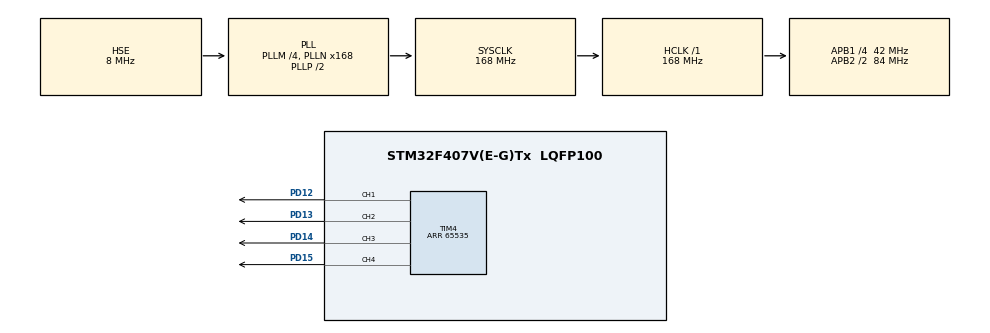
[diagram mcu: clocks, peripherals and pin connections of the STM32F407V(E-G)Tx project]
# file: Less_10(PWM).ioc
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Mcu.Family=STM32F4
Mcu.Name=STM32F407V(E-G)Tx
Mcu.Package=LQFP100
NVIC.PriorityGroup=NVIC_PRIORITYGROUP_4
NVIC.TIM4_IRQn=true\:0\:0\:false\:false\:true
PD12.GPIO_Speed=GPIO_SPEED_FREQ_HIGH
PD12.Signal=S_TIM4_CH1
PD13.GPIO_Speed=GPIO_SPEED_FREQ_HIGH
PD13.Signal=S_TIM4_CH2
PD14.GPIO_Speed=GPIO_SPEED_FREQ_HIGH
PD14.Signal=S_TIM4_CH3
PD15.GPIO_Speed=GPIO_SPEED_FREQ_HIGH
PD15.Signal=S_TIM4_CH4
PH0-OSC_IN.Mode=HSE-External-Oscillator
PH0-OSC_IN.Signal=RCC_OSC_IN
PH1-OSC_OUT.Mode=HSE-External-Oscillator
PH1-OSC_OUT.Signal=RCC_OSC_OUT
ProjectManager.HeapSize=0x200
ProjectManager.StackSize=0x400
ProjectManager.TargetToolchain=MDK-ARM V5
RCC.48MHZClocksFreq_Value=84000000
RCC.AHBFreq_Value=168000000
RCC.APB1CLKDivider=RCC_HCLK_DIV4
RCC.APB1Freq_Value=42000000
RCC.APB1TimFreq_Value=84000000
RCC.APB2CLKDivider=RCC_HCLK_DIV2
RCC.APB2Freq_Value=84000000
RCC.APB2TimFreq_Value=168000000
RCC.CortexFreq_Value=168000000
RCC.HCLKFreq_Value=168000000
RCC.HSE_VALUE=8000000
RCC.HSI_VALUE=16000000
RCC.LSE_VALUE=32768
RCC.PLLM=4
RCC.PLLN=168
RCC.PLLSourceVirtual=RCC_PLLSOURCE_HSE
RCC.SYSCLKFreq_VALUE=168000000
RCC.SYSCLKSource=RCC_SYSCLKSOURCE_PLLCLK
RCC.VCOOutputFreq_Value=336000000
SH.S_TIM4_CH1.0=TIM4_CH1,PWM Generation1 CH1
SH.S_TIM4_CH2.0=TIM4_CH2,PWM Generation2 CH2
SH.S_TIM4_CH3.0=TIM4_CH3,PWM Generation3 CH3
SH.S_TIM4_CH4.0=TIM4_CH4,PWM Generation4 CH4
TIM4.Channel-PWM\ Generation2\ CH2=TIM_CHANNEL_2
TIM4.Channel-PWM\ Generation3\ CH3=TIM_CHANNEL_3
TIM4.Channel-PWM\ Generation4\ CH4=TIM_CHANNEL_4
TIM4.Period=65535
VP_TIM4_VS_ClockSourceINT.Mode=Internal
board=Less_10(PWM)

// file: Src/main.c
/**
  ******************************************************************************
  * File Name          : main.c
  * Description        : Main program body
  ******************************************************************************
  *
  * COPYRIGHT(c) 2017 STMicroelectronics
  *
  * Redistribution and use in source and binary forms, with or without modification,
  * are permitted provided that the following conditions are met:
  *   1. Redistributions of source code must retain the above copyright notice,
  *      this list of conditions and the following disclaimer.
  *   2. Redistributions in binary form must reproduce the above copyright notice,
  *      this list of conditions and the following disclaimer in the documentation
  *      and/or other materials provided with the distribution.
  *   3. Neither the name of STMicroelectronics nor the names of its contributors
  *      may be used to endorse or promote products derived from this software
  *      without specific prior written permission.
  *
  * THIS SOFTWARE IS PROVIDED BY THE COPYRIGHT HOLDERS AND CONTRIBUTORS "AS IS"
  * AND ANY EXPRESS OR IMPLIED WARRANTIES, INCLUDING, BUT NOT LIMITED TO, THE
  * IMPLIED WARRANTIES OF MERCHANTABILITY AND FITNESS FOR A PARTICULAR PURPOSE ARE
  * DISCLAIMED. IN NO EVENT SHALL THE COPYRIGHT HOLDER OR CONTRIBUTORS BE LIABLE
  * FOR ANY DIRECT, INDIRECT, INCIDENTAL, SPECIAL, EXEMPLARY, OR CONSEQUENTIAL
  * DAMAGES (INCLUDING, BUT NOT LIMITED TO, PROCUREMENT OF SUBSTITUTE GOODS OR
  * SERVICES; LOSS OF USE, DATA, OR PROFITS; OR BUSINESS INTERRUPTION) HOWEVER
  * CAUSED AND ON ANY THEORY OF LIABILITY, WHETHER IN CONTRACT, STRICT LIABILITY,
  * OR TORT (INCLUDING NEGLIGENCE OR OTHERWISE) ARISING IN ANY WAY OUT OF THE USE
  * OF THIS SOFTWARE, EVEN IF ADVISED OF THE POSSIBILITY OF SUCH DAMAGE.
  *
  ******************************************************************************
  */
#include "main.h"
#include "stm32f4xx_hal.h"

TIM_HandleTypeDef htim4;

/* USER CODE BEGIN PV */
/* Private variables ---------------------------------------------------------*/

/* USER CODE END PV */

void SystemClock_Config(void);
void Error_Handler(void);
static void MX_GPIO_Init(void);
static void MX_TIM4_Init(void);
void HAL_TIM_MspPostInit(TIM_HandleTypeDef *htim);

/* USER CODE BEGIN PFP */
/* Private function prototypes -----------------------------------------------*/

/* USER CODE END PFP */

int main(void)
{

  /* USER CODE BEGIN 1 */
uint32_t i,d;

  /* USER CODE END 1 */

  /* MCU Configuration----------------------------------------------------------*/

  /* Reset of all peripherals, Initializes the Flash interface and the Systick. */
  HAL_Init();

  /* Configure the system clock */
  SystemClock_Config();

  /* Initialize all configured peripherals */
  MX_GPIO_Init();
  MX_TIM4_Init();

  /* USER CODE BEGIN 2 */
HAL_TIM_PWM_Start(&htim4,TIM_CHANNEL_1);//запустим ШИМ первого канала
	HAL_TIM_PWM_Start(&htim4,TIM_CHANNEL_2);//запустим ШИМ второй канал
	HAL_TIM_PWM_Start(&htim4,TIM_CHANNEL_3);//запустим ШИМ третий канал
	HAL_TIM_PWM_Start(&htim4,TIM_CHANNEL_4);//запустим ШИМ четвертый канал

  /* USER CODE END 2 */

  /* Infinite loop */
  while (1)
  {

  /* USER CODE BEGIN 3 */

		for(i=0;i<=524288;i++)
		{
			if(i<65535)TIM4->CCR1=i;
			else if((i>65535)&&(i<131072))TIM4->CCR1=131072-i;
			else if((i>131071)&&(i<196608))TIM4->CCR2=i-137072;
			else if((i>196607)&&(i<262144))TIM4->CCR2=262144-i;

			else if((i>262143)&&(i<327680))TIM4->CCR3=i-262144;
			else if((i>327679)&&(i<393216))TIM4->CCR3=393216-i;
			else if((i>393216)&&(i<458752))TIM4->CCR4=i-393216;
			else TIM4->CCR4=524288-i;
			for(d=0;d<1000;d++)
			{

			}
		}

  }
  /* USER CODE END 3 */

}

/** System Clock Configuration
*/
void SystemClock_Config(void)
{

  RCC_OscInitTypeDef RCC_OscInitStruct;
  RCC_ClkInitTypeDef RCC_ClkInitStruct;

    /**Configure the main internal regulator output voltage
    */
  __HAL_RCC_PWR_CLK_ENABLE();

  __HAL_PWR_VOLTAGESCALING_CONFIG(PWR_REGULATOR_VOLTAGE_SCALE1);

    /**Initializes the CPU, AHB and APB busses clocks
    */
  RCC_OscInitStruct.OscillatorType = RCC_OSCILLATORTYPE_HSE;
  RCC_OscInitStruct.HSEState = RCC_HSE_ON;
  RCC_OscInitStruct.PLL.PLLState = RCC_PLL_ON;
  RCC_OscInitStruct.PLL.PLLSource = RCC_PLLSOURCE_HSE;
  RCC_OscInitStruct.PLL.PLLM = 4;
  RCC_OscInitStruct.PLL.PLLN = 168;
  RCC_OscInitStruct.PLL.PLLP = RCC_PLLP_DIV2;
  RCC_OscInitStruct.PLL.PLLQ = 4;
  if (HAL_RCC_OscConfig(&RCC_OscInitStruct) != HAL_OK)
  {
    Error_Handler();
  }

    /**Initializes the CPU, AHB and APB busses clocks
    */
  RCC_ClkInitStruct.ClockType = RCC_CLOCKTYPE_HCLK|RCC_CLOCKTYPE_SYSCLK
                              |RCC_CLOCKTYPE_PCLK1|RCC_CLOCKTYPE_PCLK2;
  RCC_ClkInitStruct.SYSCLKSource = RCC_SYSCLKSOURCE_PLLCLK;
  RCC_ClkInitStruct.AHBCLKDivider = RCC_SYSCLK_DIV1;
  RCC_ClkInitStruct.APB1CLKDivider = RCC_HCLK_DIV4;
  RCC_ClkInitStruct.APB2CLKDivider = RCC_HCLK_DIV2;

  if (HAL_RCC_ClockConfig(&RCC_ClkInitStruct, FLASH_LATENCY_5) != HAL_OK)
  {
    Error_Handler();
  }

    /**Configure the Systick interrupt time
    */
  HAL_SYSTICK_Config(HAL_RCC_GetHCLKFreq()/1000);

    /**Configure the Systick
    */
  HAL_SYSTICK_CLKSourceConfig(SYSTICK_CLKSOURCE_HCLK);

  /* SysTick_IRQn interrupt configuration */
  HAL_NVIC_SetPriority(SysTick_IRQn, 0, 0);
}

/* TIM4 init function */
static void MX_TIM4_Init(void)
{

  TIM_ClockConfigTypeDef sClockSourceConfig;
  TIM_MasterConfigTypeDef sMasterConfig;
  TIM_OC_InitTypeDef sConfigOC;

  htim4.Instance = TIM4;
  htim4.Init.Prescaler = 0;
  htim4.Init.CounterMode = TIM_COUNTERMODE_UP;
  htim4.Init.Period = 65535;
  htim4.Init.ClockDivision = TIM_CLOCKDIVISION_DIV1;
  if (HAL_TIM_Base_Init(&htim4) != HAL_OK)
  {
    Error_Handler();
  }

  sClockSourceConfig.ClockSource = TIM_CLOCKSOURCE_INTERNAL;
  if (HAL_TIM_ConfigClockSource(&htim4, &sClockSourceConfig) != HAL_OK)
  {
    Error_Handler();
  }

  if (HAL_TIM_PWM_Init(&htim4) != HAL_OK)
  {
    Error_Handler();
  }

  sMasterConfig.MasterOutputTrigger = TIM_TRGO_RESET;
  sMasterConfig.MasterSlaveMode = TIM_MASTERSLAVEMODE_DISABLE;
  if (HAL_TIMEx_MasterConfigSynchronization(&htim4, &sMasterConfig) != HAL_OK)
  {
    Error_Handler();
  }

  sConfigOC.OCMode = TIM_OCMODE_PWM1;
  sConfigOC.Pulse = 0;
  sConfigOC.OCPolarity = TIM_OCPOLARITY_HIGH;
  sConfigOC.OCFastMode = TIM_OCFAST_DISABLE;
  if (HAL_TIM_PWM_ConfigChannel(&htim4, &sConfigOC, TIM_CHANNEL_1) != HAL_OK)
  {
    Error_Handler();
  }

  if (HAL_TIM_PWM_ConfigChannel(&htim4, &sConfigOC, TIM_CHANNEL_2) != HAL_OK)
  {
    Error_Handler();
  }

  if (HAL_TIM_PWM_ConfigChannel(&htim4, &sConfigOC, TIM_CHANNEL_3) != HAL_OK)
  {
    Error_Handler();
  }

  if (HAL_TIM_PWM_ConfigChannel(&htim4, &sConfigOC, TIM_CHANNEL_4) != HAL_OK)
  {
    Error_Handler();
  }

  HAL_TIM_MspPostInit(&htim4);

}

/** Configure pins as
        * Analog
        * Input
        * Output
        * EVENT_OUT
        * EXTI
*/
static void MX_GPIO_Init(void)
{

  /* GPIO Ports Clock Enable */
  __HAL_RCC_GPIOH_CLK_ENABLE();
  __HAL_RCC_GPIOD_CLK_ENABLE();

}

void Error_Handler(void)
{
  while(1)
  {
  }
}

/************************ (C) COPYRIGHT STMicroelectronics *****END OF FILE****/
